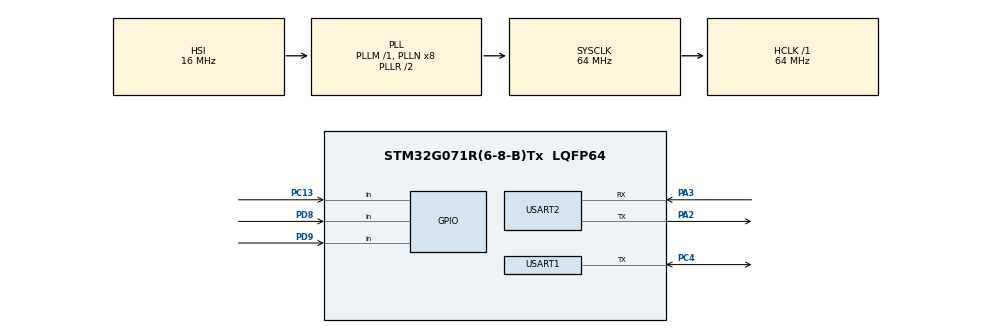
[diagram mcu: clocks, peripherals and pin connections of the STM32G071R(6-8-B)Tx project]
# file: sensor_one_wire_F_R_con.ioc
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Mcu.Family=STM32G0
Mcu.Name=STM32G071R(6-8-B)Tx
Mcu.Package=LQFP64
NVIC.USART1_IRQn=true\:0\:0\:false\:false\:true\:true\:true\:true
PA13.Mode=Serial_Wire
PA13.Signal=SYS_SWDIO
PA14-BOOT0.Mode=Serial_Wire
PA14-BOOT0.Signal=SYS_SWCLK
PA2.Mode=Asynchronous
PA2.Signal=USART2_TX
PA3.Mode=Asynchronous
PA3.Signal=USART2_RX
PC13.GPIO_PuPd=GPIO_PULLUP
PC13.Signal=GPIO_Input
PC4.Mode=Half_duplex(single_wire_mode)
PC4.Signal=USART1_TX
PD8.GPIO_PuPd=GPIO_PULLUP
PD8.Signal=GPIO_Input
PD9.GPIO_Mode=GPIO_MODE_INPUT
PD9.GPIO_PuPd=GPIO_PULLUP
PD9.Signal=GPIO_Input
ProjectManager.HeapSize=0x200
ProjectManager.StackSize=0x400
ProjectManager.TargetToolchain=STM32CubeIDE
RCC.ADCFreq_Value=64000000
RCC.AHBFreq_Value=64000000
RCC.CortexFreq_Value=64000000
RCC.EXTERNAL_CLOCK_VALUE=12288000
RCC.HCLKFreq_Value=64000000
RCC.HSE_VALUE=8000000
RCC.HSI_VALUE=16000000
RCC.LSE_VALUE=32768
RCC.SYSCLKFreq_VALUE=64000000
RCC.SYSCLKSource=RCC_SYSCLKSOURCE_PLLCLK
RCC.VCOOutputFreq_Value=128000000
USART1.BaudRate=2400
USART1.VirtualMode-Half_duplex(single_wire_mode)=VM_ASYNC
USART2.VirtualMode-Asynchronous=VM_ASYNC
VP_SYS_VS_DBSignals.Mode=DisableDeadBatterySignals
board=NUCLEO-G071RB

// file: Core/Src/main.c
/* USER CODE BEGIN Header */
/**
  ******************************************************************************
  * @file           : main.c
  * @brief          : Main program body
  ******************************************************************************
  * @attention
  *
  * Copyright (c) 2024 STMicroelectronics.
  * All rights reserved.
  *
  * This software is licensed under terms that can be found in the LICENSE file
  * in the root directory of this software component.
  * If no LICENSE file comes with this software, it is provided AS-IS.
  *
  ******************************************************************************
  */
/* USER CODE END Header */
#include "main.h"

/* USER CODE BEGIN Includes */
#include <stdio.h>
#include <string.h>
/* USER CODE END Includes */

UART_HandleTypeDef huart1;
UART_HandleTypeDef huart2;

/* USER CODE BEGIN PV */
uint8_t receivedData[19];
char buffer[19];
uint32_t currentTime1, currentTime2, currentTime ;
int index1 = 0;
int x = 0;
uint32_t currentMillis , previousMillis , Reverse;

int r , f , count_zero , count_positive , count_ccw , count_cw ;
uint32_t time_r , time_f , time_zero , time_positive , time_total , currentMillis , previousMillis;

double water_use_total = 0;
double water_use_counter = 0;
int  lastState_cw ,  lastState_ccw;
/* USER CODE END PV */

void SystemClock_Config(void);
static void MX_GPIO_Init(void);
static void MX_USART2_UART_Init(void);
static void MX_USART1_UART_Init(void);
/* USER CODE BEGIN PFP */
void checkEdge_cw(void); // Function to check for edges
void checkEdge_ccw(void); // Function to check for edges
/* USER CODE END PFP */

/* USER CODE BEGIN 0 */
int _write(int file, char *ptr, int len)
{
	HAL_UART_Transmit(&huart2,(uint8_t*)ptr,len,HAL_MAX_DELAY);
	return len;
}

void switchToGPIO_Mode() {
    HAL_UART_DeInit(&huart1);  // Disable UART1 to free PC4
    RCC->IOPENR |= RCC_IOPENR_GPIOCEN;  // Enable clock for GPIOC

    // Configure PC4 as Output
    GPIOC->MODER &= ~GPIO_MODER_MODE4_Msk;  // Clear mode bits for PC4
    GPIOC->MODER |= (1 << GPIO_MODER_MODE4_Pos);  // Set PC4 to output mode
    GPIOC->PUPDR &= ~GPIO_PUPDR_PUPD4_Msk;  // No pull-up/pull-down
    GPIOC->OSPEEDR &= ~GPIO_OSPEEDR_OSPEED4_Msk;  // Set PC4 to low speed
}

// Switch PC4 back to UART mode
void switchToUART_Mode() {
    HAL_GPIO_DeInit(GPIOC, GPIO_PIN_4);  // Deinitialize GPIO on PC4
    MX_USART1_UART_Init();  // Reinitialize UART1
}

// Send a 500 ms pulse on PC4
void sendPulseToSensor() {
	currentTime1 = HAL_GetTick();  // Record start time
    GPIOC->BSRR = GPIO_BSRR_BS4;  // Set PC4 to HIGH
    HAL_Delay(500);               // Delay for 500 ms
    currentTime2 = HAL_GetTick();  // Record end time
    GPIOC->BSRR = GPIO_BSRR_BR4;  // Set PC4 to LOW
}

// Receive data from sensor and store in receivedData buffer
void receiveDataFromSensor() {
    index1 = 0;  // Reset data buffer index

    while(HAL_UART_Receive(&huart1, &receivedData[index1], 1, 100) == HAL_OK){
    	index1++;
    }

    for(int i = 0 ; i < index1 ; i++){
    	//printf("Received Data at index %d: %X(%d)\n", i, receivedData[i], receivedData[i]);

    	switch(i){
    		case 1 : printf("1) Starting mark : %X(%d)\n", receivedData[i], receivedData[i]); break;
    		case 2 : printf("2) Length : %X(%d)\n", receivedData[i], receivedData[i]); break;
    		case 3 : printf("3) Ctrlcode : %X(%d)\n", receivedData[i], receivedData[i]); break;
    		case 4 : printf("4) Major Version : %X(%d)\n", receivedData[i], receivedData[i]); break;
    		case 5 : printf("5) Subversion : %X(%d)\n", receivedData[i], receivedData[i]); break;
    		case 6 : printf("6) Signal intensity : %X(%d)\n", receivedData[i], receivedData[i]); break;
    		case 7 : printf("7) Signal indication : %X(%d)\n", receivedData[i], receivedData[i]); break;
    		case 8 :
    		case 9 :
    		case 10 :
    		case 11 :printf("%d) Forward pulse : %X(%d)\n", i , receivedData[i], receivedData[i]); break;
    		case 12 :
    		case 13 :
    		case 14:
    		case 15 : printf("%d) Reverse pluse : %X(%d)\n", i ,receivedData[i], receivedData[i]); break;
    		case 16 : printf("16) Status byte : %X(%d)\n", receivedData[i], receivedData[i]); break;
    		case 17 : printf("17) Debug byte : %X(%d)\n", receivedData[i], receivedData[i]); break;
    		case 18 : printf("18) Cs : %X(%d)\n", receivedData[i], receivedData[i]); break;
    		case 19 : printf("19) Enging mark : %X(%d)\n", receivedData[i], receivedData[i]); break;
    	}
    }

    printf("Received all data!\n");
}
void handleSensorCommunication(){

	      switchToGPIO_Mode();

	  	  HAL_Delay(2);
	  	  sendPulseToSensor();  // Send pulse to sensor
	  	  switchToUART_Mode();  // Switch PC4 back to UART mode
	  	  HAL_Delay(2);         //
	  	  currentTime = currentTime2 - currentTime1;  // Calculate pulse duration

	  	  printf("senddata : %ld\n\r", currentTime);  // Print transmitted data

	      receiveDataFromSensor();  // Call function to receive data

	 }
/* USER CODE END 0 */

int main(void)
{

  /* MCU Configuration--------------------------------------------------------*/

  /* Reset of all peripherals, Initializes the Flash interface and the Systick. */
  HAL_Init();

  /* Configure the system clock */
  SystemClock_Config();

  /* Initialize all configured peripherals */
  MX_GPIO_Init();
  MX_USART2_UART_Init();
  MX_USART1_UART_Init();
  /* USER CODE BEGIN 2 */
  lastState_cw = HAL_GPIO_ReadPin(GPIOD, GPIO_PIN_8); // Read the last state of PC13

  lastState_ccw = HAL_GPIO_ReadPin(GPIOD, GPIO_PIN_9); // Read the last state of PC13

  /* USER CODE END 2 */

  /* Infinite loop */
  /* USER CODE BEGIN WHILE */
  while (1)
  {
	  currentMillis = HAL_GetTick();

	  checkEdge_cw();

	  checkEdge_ccw();

	  if(r == 1 && f == 1){

		  if(time_f > time_r){
			  time_zero = time_f - time_r;

			  printf("Time count1 : %ld ms\n\r",time_zero);
			  count_zero = 1;
			  r = 0;

		  }else if(time_r > time_f){
			  time_positive = time_r - time_f ;

			  printf("time count2 : %ld ms \n\r" , time_positive);
			  count_positive = 1;
			  f = 0;
		  }

		  if((count_positive == 1 && count_zero == 1) && ((time_positive >= 60 && time_positive <= 70) || (time_zero >= 60 && time_zero <= 70))){

			  while(!(HAL_GPIO_ReadPin(GPIOD, GPIO_PIN_8) != HAL_GPIO_ReadPin(GPIOD, GPIO_PIN_9))){

			  }

			  if(HAL_GPIO_ReadPin(GPIOD, GPIO_PIN_8) == 1){
				 printf("----------------------------------\n\r");
				 printf("Forward pulse\n\r");
				 printf("----------------------------------\n\r");

				 water_use_counter++;

				 count_cw++;
				 if(count_cw == 1){ //When the condition is met ... times
					 handleSensorCommunication();
					 count_cw = 0;
				 }

			  }else if (HAL_GPIO_ReadPin(GPIOD, GPIO_PIN_9) == 1){
				  Reverse++;
				  printf("----------------------------------\n\r");
				  printf("Reverse : %ld L \n\r",Reverse);
				  printf("----------------------------------\n\r");

				  water_use_counter--;

				  count_ccw++;
				  if(count_ccw == 1){ //When the condition is met ... times
				 	 handleSensorCommunication();
				 	 count_ccw = 0;
				 }
			  }

			  printf("water use counter : %.3lf L \n\r" , water_use_counter);

			  	  	  count_zero = 0;
			  		  count_positive = 0;
			  		  time_zero = 0;
			  		  time_positive = 0;
		  }

		  previousMillis = HAL_GetTick();

	  } else if(currentMillis - previousMillis >= 20000){

		  previousMillis = currentMillis ;
		  handleSensorCommunication();
	  }

    /* USER CODE END WHILE */

  }
}

void SystemClock_Config(void)
{
  RCC_OscInitTypeDef RCC_OscInitStruct = {0};
  RCC_ClkInitTypeDef RCC_ClkInitStruct = {0};

  /** Configure the main internal regulator output voltage
  */
  HAL_PWREx_ControlVoltageScaling(PWR_REGULATOR_VOLTAGE_SCALE1);

  /** Initializes the RCC Oscillators according to the specified parameters
  * in the RCC_OscInitTypeDef structure.
  */
  RCC_OscInitStruct.OscillatorType = RCC_OSCILLATORTYPE_HSI;
  RCC_OscInitStruct.HSIState = RCC_HSI_ON;
  RCC_OscInitStruct.HSIDiv = RCC_HSI_DIV1;
  RCC_OscInitStruct.HSICalibrationValue = RCC_HSICALIBRATION_DEFAULT;
  RCC_OscInitStruct.PLL.PLLState = RCC_PLL_ON;
  RCC_OscInitStruct.PLL.PLLSource = RCC_PLLSOURCE_HSI;
  RCC_OscInitStruct.PLL.PLLM = RCC_PLLM_DIV1;
  RCC_OscInitStruct.PLL.PLLN = 8;
  RCC_OscInitStruct.PLL.PLLP = RCC_PLLP_DIV2;
  RCC_OscInitStruct.PLL.PLLQ = RCC_PLLQ_DIV2;
  RCC_OscInitStruct.PLL.PLLR = RCC_PLLR_DIV2;
  if (HAL_RCC_OscConfig(&RCC_OscInitStruct) != HAL_OK)
  {
    Error_Handler();
  }

  /** Initializes the CPU, AHB and APB buses clocks
  */
  RCC_ClkInitStruct.ClockType = RCC_CLOCKTYPE_HCLK|RCC_CLOCKTYPE_SYSCLK
                              |RCC_CLOCKTYPE_PCLK1;
  RCC_ClkInitStruct.SYSCLKSource = RCC_SYSCLKSOURCE_PLLCLK;
  RCC_ClkInitStruct.AHBCLKDivider = RCC_SYSCLK_DIV1;
  RCC_ClkInitStruct.APB1CLKDivider = RCC_HCLK_DIV1;

  if (HAL_RCC_ClockConfig(&RCC_ClkInitStruct, FLASH_LATENCY_2) != HAL_OK)
  {
    Error_Handler();
  }
}

static void MX_USART1_UART_Init(void)
{

  huart1.Instance = USART1;
  huart1.Init.BaudRate = 2400;
  huart1.Init.WordLength = UART_WORDLENGTH_8B;
  huart1.Init.StopBits = UART_STOPBITS_1;
  huart1.Init.Parity = UART_PARITY_NONE;
  huart1.Init.Mode = UART_MODE_TX_RX;
  huart1.Init.HwFlowCtl = UART_HWCONTROL_NONE;
  huart1.Init.OverSampling = UART_OVERSAMPLING_16;
  huart1.Init.OneBitSampling = UART_ONE_BIT_SAMPLE_DISABLE;
  huart1.Init.ClockPrescaler = UART_PRESCALER_DIV1;
  huart1.AdvancedInit.AdvFeatureInit = UART_ADVFEATURE_NO_INIT;
  if (HAL_HalfDuplex_Init(&huart1) != HAL_OK)
  {
    Error_Handler();
  }
  if (HAL_UARTEx_SetTxFifoThreshold(&huart1, UART_TXFIFO_THRESHOLD_1_8) != HAL_OK)
  {
    Error_Handler();
  }
  if (HAL_UARTEx_SetRxFifoThreshold(&huart1, UART_RXFIFO_THRESHOLD_1_8) != HAL_OK)
  {
    Error_Handler();
  }
  if (HAL_UARTEx_DisableFifoMode(&huart1) != HAL_OK)
  {
    Error_Handler();
  }

}

static void MX_USART2_UART_Init(void)
{

  huart2.Instance = USART2;
  huart2.Init.BaudRate = 115200;
  huart2.Init.WordLength = UART_WORDLENGTH_8B;
  huart2.Init.StopBits = UART_STOPBITS_1;
  huart2.Init.Parity = UART_PARITY_NONE;
  huart2.Init.Mode = UART_MODE_TX_RX;
  huart2.Init.HwFlowCtl = UART_HWCONTROL_NONE;
  huart2.Init.OverSampling = UART_OVERSAMPLING_16;
  huart2.Init.OneBitSampling = UART_ONE_BIT_SAMPLE_DISABLE;
  huart2.Init.ClockPrescaler = UART_PRESCALER_DIV1;
  huart2.AdvancedInit.AdvFeatureInit = UART_ADVFEATURE_NO_INIT;
  if (HAL_UART_Init(&huart2) != HAL_OK)
  {
    Error_Handler();
  }
  if (HAL_UARTEx_SetTxFifoThreshold(&huart2, UART_TXFIFO_THRESHOLD_1_8) != HAL_OK)
  {
    Error_Handler();
  }
  if (HAL_UARTEx_SetRxFifoThreshold(&huart2, UART_RXFIFO_THRESHOLD_1_8) != HAL_OK)
  {
    Error_Handler();
  }
  if (HAL_UARTEx_DisableFifoMode(&huart2) != HAL_OK)
  {
    Error_Handler();
  }

}

static void MX_GPIO_Init(void)
{
  GPIO_InitTypeDef GPIO_InitStruct = {0};

  /* GPIO Ports Clock Enable */
  __HAL_RCC_GPIOC_CLK_ENABLE();
  __HAL_RCC_GPIOA_CLK_ENABLE();
  __HAL_RCC_GPIOD_CLK_ENABLE();

  /*Configure GPIO pin : PC13 */
  GPIO_InitStruct.Pin = GPIO_PIN_13;
  GPIO_InitStruct.Mode = GPIO_MODE_INPUT;
  GPIO_InitStruct.Pull = GPIO_PULLUP;
  HAL_GPIO_Init(GPIOC, &GPIO_InitStruct);

  /*Configure GPIO pins : PD8 PD9 */
  GPIO_InitStruct.Pin = GPIO_PIN_8|GPIO_PIN_9;
  GPIO_InitStruct.Mode = GPIO_MODE_INPUT;
  GPIO_InitStruct.Pull = GPIO_PULLUP;
  HAL_GPIO_Init(GPIOD, &GPIO_InitStruct);

}

/* USER CODE BEGIN 4 */
void checkEdge_cw(void) {

    uint8_t currentState_cw = HAL_GPIO_ReadPin(GPIOD, GPIO_PIN_8); // Read the current state of PC13

    if (currentState_cw == GPIO_PIN_SET && lastState_cw == GPIO_PIN_RESET) {
        // Rising edge detected
       // printf("Detected rising edge on PD8!\n");

    	r = 1;
    	time_r = HAL_GetTick();

    } else if (currentState_cw == GPIO_PIN_RESET && lastState_cw == GPIO_PIN_SET) {
        // Falling edge detected
       // printf("Detected falling edge on PD8!\n");

    	f = 1 ;
    	time_f = HAL_GetTick();
    }

    lastState_cw = currentState_cw; // Update lastState to the current state
}

void checkEdge_ccw(void) {

    uint8_t currentState_ccw = HAL_GPIO_ReadPin(GPIOD, GPIO_PIN_9); // Read the current state of PC13

    if (currentState_ccw == GPIO_PIN_SET && lastState_ccw == GPIO_PIN_RESET) {
        // Rising edge detected
       // printf("Detected rising edge on PD9!\n");

    	r = 1;
    	time_r = HAL_GetTick();

    } else if (currentState_ccw == GPIO_PIN_RESET && lastState_ccw == GPIO_PIN_SET) {
        // Falling edge detected
       // printf("Detected falling edge on PD9\n");

    	f = 1 ;
    	time_f = HAL_GetTick();
    }

    lastState_ccw = currentState_ccw; // Update lastState to the current state
}

/* USER CODE END 4 */

void Error_Handler(void)
{
  __disable_irq();
  while (1)
  {
  }
}
